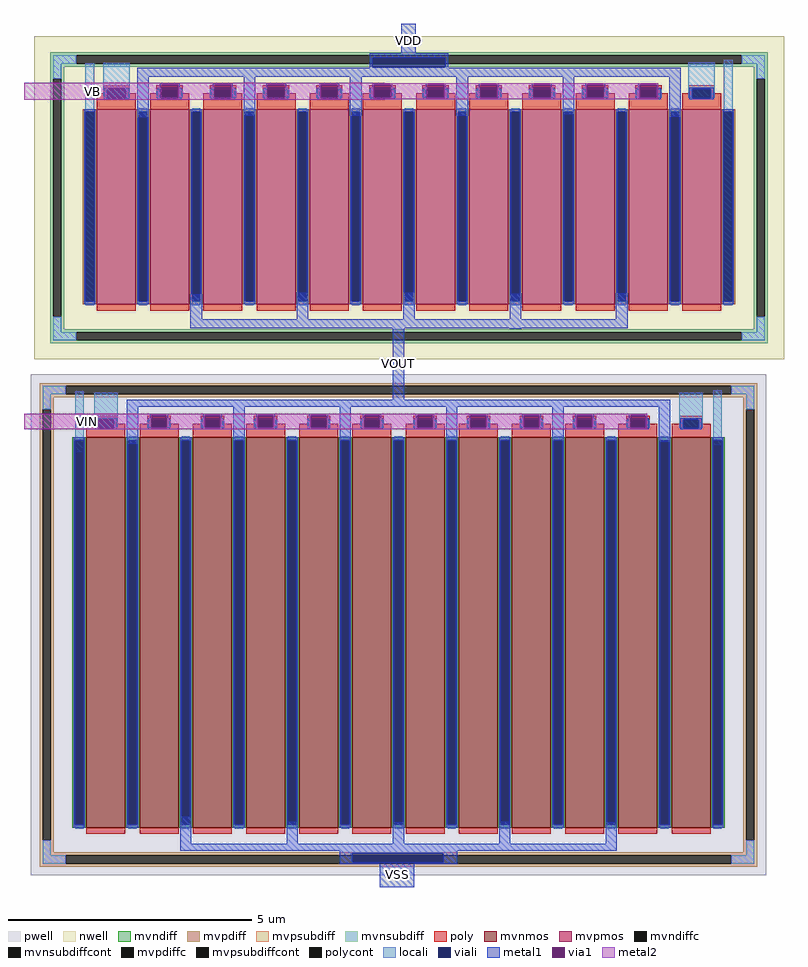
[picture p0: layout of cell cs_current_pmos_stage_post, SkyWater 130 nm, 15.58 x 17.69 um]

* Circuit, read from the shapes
.subckt cs_current_pmos_stage_post VDD VSS VIN VOUT VB
XM1 VOUT VSS VSS VSS sky130_fd_pr__nfet_g5v0d10v5 w=8 l=0.8 m=2
XM2 VSS VIN VOUT VSS sky130_fd_pr__nfet_g5v0d10v5 w=8 l=0.8 m=10
XM3 VDD VDD VDD VDD sky130_fd_pr__pfet_g5v0d10v5 w=4 l=0.8 m=2
XM4 VOUT VB VDD VDD sky130_fd_pr__pfet_g5v0d10v5 w=4 l=0.8 m=10
.ends

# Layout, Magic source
magic
tech sky130A
magscale 1 2
<< locali >>
rect 116 126 152 1118
rect 188 976 298 1120
rect 2586 978 2696 1122
rect 2732 126 2768 1134
rect 74 -476 108 -226
rect 152 -376 248 -232
rect 2550 -376 2646 -232
rect 2690 -446 2724 -222
<< viali >>
rect 1292 1102 1590 1142
rect 1210 -2156 1582 -2120
<< metal1 >>
rect 1410 1160 1470 1280
rect 1282 1142 1602 1160
rect 1282 1102 1292 1142
rect 1590 1102 1602 1142
rect 1282 1100 1602 1102
rect 328 1064 2556 1100
rect 328 898 376 1064
rect 420 1030 502 1036
rect 420 978 426 1030
rect 496 978 502 1030
rect 420 972 502 978
rect 638 1030 720 1036
rect 638 978 644 1030
rect 714 978 720 1030
rect 638 972 720 978
rect 764 904 812 1064
rect 856 1030 938 1036
rect 856 978 862 1030
rect 932 978 938 1030
rect 856 972 938 978
rect 1074 1030 1156 1036
rect 1074 978 1080 1030
rect 1150 978 1156 1030
rect 1074 972 1156 978
rect 1200 904 1248 1064
rect 1292 1030 1374 1036
rect 1292 978 1298 1030
rect 1368 978 1374 1030
rect 1292 972 1374 978
rect 1510 1030 1592 1036
rect 1510 978 1516 1030
rect 1586 978 1592 1030
rect 1510 972 1592 978
rect 1636 904 1684 1064
rect 1728 1030 1810 1036
rect 1728 978 1734 1030
rect 1804 978 1810 1030
rect 1728 972 1810 978
rect 1946 1030 2028 1036
rect 1946 978 1952 1030
rect 2022 978 2028 1030
rect 1946 972 2028 978
rect 2072 910 2120 1064
rect 2164 1030 2246 1036
rect 2164 978 2170 1030
rect 2240 978 2246 1030
rect 2164 972 2246 978
rect 2382 1030 2464 1036
rect 2382 978 2388 1030
rect 2458 978 2464 1030
rect 2382 972 2464 978
rect 2508 900 2556 1064
rect 546 70 594 172
rect 982 70 1030 178
rect 1418 70 1466 178
rect 1854 70 1902 174
rect 2290 70 2338 176
rect 546 32 2338 70
rect 1376 -260 1422 32
rect 1854 30 1902 32
rect 286 -290 2512 -260
rect 286 -440 332 -290
rect 380 -324 456 -318
rect 380 -376 386 -324
rect 450 -376 456 -324
rect 380 -382 456 -376
rect 598 -324 674 -318
rect 598 -376 604 -324
rect 668 -376 674 -324
rect 598 -382 674 -376
rect 722 -416 768 -290
rect 816 -324 892 -318
rect 816 -376 822 -324
rect 886 -376 892 -324
rect 816 -382 892 -376
rect 1034 -324 1110 -318
rect 1034 -376 1040 -324
rect 1104 -376 1110 -324
rect 1034 -382 1110 -376
rect 1158 -420 1204 -290
rect 1252 -324 1328 -318
rect 1252 -376 1258 -324
rect 1322 -376 1328 -324
rect 1252 -382 1328 -376
rect 1470 -324 1546 -318
rect 1470 -376 1476 -324
rect 1540 -376 1546 -324
rect 1470 -382 1546 -376
rect 1594 -420 1640 -290
rect 1688 -324 1764 -318
rect 1688 -376 1694 -324
rect 1758 -376 1764 -324
rect 1688 -382 1764 -376
rect 1906 -324 1982 -318
rect 1906 -376 1912 -324
rect 1976 -376 1982 -324
rect 1906 -382 1982 -376
rect 2030 -424 2076 -290
rect 2124 -324 2200 -318
rect 2124 -376 2130 -324
rect 2194 -376 2200 -324
rect 2124 -382 2200 -376
rect 2342 -324 2418 -318
rect 2342 -376 2348 -324
rect 2412 -376 2418 -324
rect 2342 -382 2418 -376
rect 2466 -432 2512 -290
rect 504 -2080 550 -1970
rect 940 -2080 986 -1990
rect 1376 -2080 1422 -1992
rect 1812 -2080 1858 -1990
rect 2248 -2080 2294 -1992
rect 504 -2110 2294 -2080
rect 1158 -2120 1640 -2110
rect 1158 -2156 1210 -2120
rect 1582 -2156 1640 -2120
rect 1158 -2162 1640 -2156
rect 1322 -2258 1464 -2162
<< via1 >>
rect 426 978 496 1030
rect 644 978 714 1030
rect 862 978 932 1030
rect 1080 978 1150 1030
rect 1298 978 1368 1030
rect 1516 978 1586 1030
rect 1734 978 1804 1030
rect 1952 978 2022 1030
rect 2170 978 2240 1030
rect 2388 978 2458 1030
rect 386 -376 450 -324
rect 604 -376 668 -324
rect 822 -376 886 -324
rect 1040 -376 1104 -324
rect 1258 -376 1322 -324
rect 1476 -376 1540 -324
rect 1694 -376 1758 -324
rect 1912 -376 1976 -324
rect 2130 -376 2194 -324
rect 2348 -376 2412 -324
<< metal2 >>
rect -136 1036 1342 1038
rect -136 1030 2464 1036
rect -136 978 426 1030
rect 496 978 644 1030
rect 714 978 862 1030
rect 932 978 1080 1030
rect 1150 978 1298 1030
rect 1368 978 1516 1030
rect 1586 978 1734 1030
rect 1804 978 1952 1030
rect 2022 978 2170 1030
rect 2240 978 2388 1030
rect 2458 978 2464 1030
rect -136 972 2464 978
rect -136 970 1342 972
rect -134 -324 2418 -318
rect -134 -376 386 -324
rect 450 -376 604 -324
rect 668 -376 822 -324
rect 886 -376 1040 -324
rect 1104 -376 1258 -324
rect 1322 -376 1476 -324
rect 1540 -376 1694 -324
rect 1758 -376 1912 -324
rect 1976 -376 2130 -324
rect 2194 -376 2348 -324
rect 2412 -376 2418 -324
rect -134 -382 2418 -376
use sky130_fd_pr__nfet_g5v0d10v5_4HWKKE  sky130_fd_pr__nfet_g5v0d10v5_4HWKKE_0
transform 1 0 1399 0 1 -1183
box -1507 -1027 1507 1027
use sky130_fd_pr__pfet_g5v0d10v5_CHJVJW  sky130_fd_pr__pfet_g5v0d10v5_CHJVJW_0
transform 1 0 1442 0 1 567
box -1537 -662 1537 662
<< labels >>
flabel metal1 1410 1142 1470 1280 0 FreeSans 1600 0 0 0 VDD
port 1 nsew
flabel metal1 1322 -2258 1464 -2156 0 FreeSans 1600 0 0 0 VSS
port 3 nsew
flabel metal2 -134 -382 386 -318 0 FreeSans 1600 0 0 0 VIN
port 5 nsew
flabel metal1 1376 -290 1422 70 0 FreeSans 1600 0 0 0 VOUT
port 7 nsew
flabel metal2 -136 970 426 1038 0 FreeSans 1600 0 0 0 VB
port 9 nsew
<< end >>

# cell sky130_fd_pr__nfet_g5v0d10v5_4HWKKE: kit device sky130_fd_pr__nfet_g5v0d10v5, w 8 l 0.8 m 1 nf 12 diffcov 100 polycov 50 guard 1 glc 1 grc 1 gtc 1 gbc 1 tbcov 100 rlcov 100 topc 1 botc 0 poverlap 0 doverlap 1 lmin 0.50 wmin 0.42 compatible {sky130_fd_pr__nfet_01v8 sky130_fd_pr__nfet_01v8_lvt sky130_fd_bs_flash__special_sonosfet_star sky130_fd_pr__nfet_g5v0d10v5 sky130_fd_pr__nfet_05v0_nvt sky130_fd_pr__nfet_03v3_nvt} full_metal 1 viasrc 100 viadrn 100 viagate 50 viagb 0 viagr 0 viagl 0 viagt 0

# cell sky130_fd_pr__pfet_g5v0d10v5_CHJVJW: kit device sky130_fd_pr__pfet_g5v0d10v5, w 4 l 0.8 m 1 nf 12 diffcov 100 polycov 60 guard 1 glc 1 grc 1 gtc 1 gbc 1 tbcov 100 rlcov 100 topc 1 botc 0 poverlap 0 doverlap 1 lmin 0.50 wmin 0.42 compatible {sky130_fd_pr__pfet_01v8 sky130_fd_pr__pfet_01v8_lvt sky130_fd_pr__pfet_01v8_hvt sky130_fd_pr__pfet_g5v0d10v5} full_metal 1 viasrc 100 viadrn 100 viagate 60 viagb 0 viagr 0 viagl 0 viagt 0
